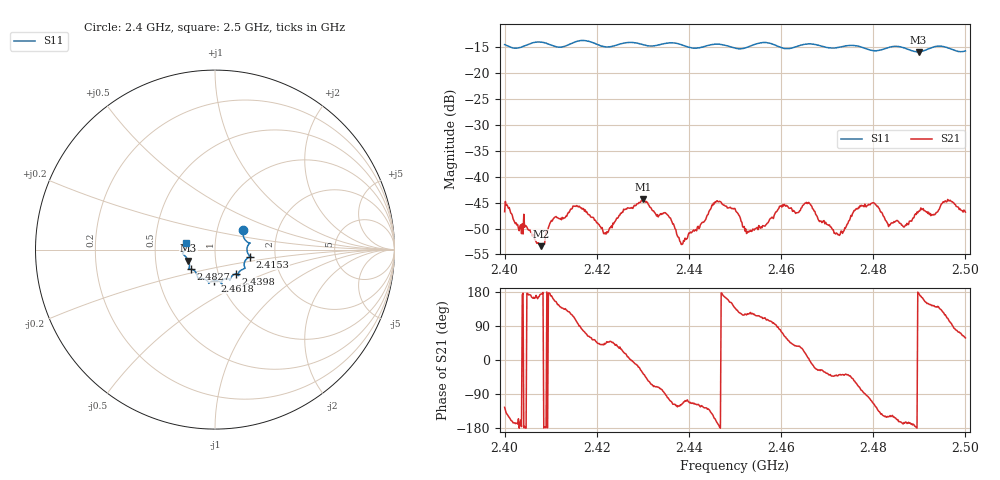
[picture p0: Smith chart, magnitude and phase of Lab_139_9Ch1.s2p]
# Hz S RI R 50
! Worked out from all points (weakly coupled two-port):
!   601 points, 2.4 GHz to 2.5 GHz, reference 50 ohm
!   highest |S21| = -44.37 dB at 2.43 GHz (marker M1); lowest = -53.4 dB at 2.4078 GHz (marker M2)
!   lowest |S11| = -15.9 dB at 2.4898 GHz (marker M3), VSWR 1.38, Z = 36.8 - j4.64 ohm
!   |S11| at or under -10 dB: start of sweep to end of sweep
!   S12 and S22 are empty: the file has one direction only
!   S11 on the Smith chart (normalised r, x): 2.4 GHz: 1.33, +0.30; 2.4153 GHz: 1.48, -0.12; 2.4398 GHz: 1.21, -0.34; 2.4618 GHz: 0.94, -0.33; 2.4827 GHz: 0.75, -0.17; 2.5 GHz: 0.72, +0.06
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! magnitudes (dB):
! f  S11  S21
! 2.4 GHz  -14.5  -46.8
! 2.4078 GHz  -14.0  -53.4
! 2.4105 GHz  -14.7  -48.2
! 2.4153 GHz  -14.0  -45.7
! 2.4167 GHz  -13.7  -46.0
! 2.422 GHz  -15.0  -51.1
! 2.43 GHz  -14.5  -44.4
! 2.4333 GHz  -14.6  -47.8
! 2.4355 GHz  -14.2  -47.5
! 2.4382 GHz  -14.4  -52.6
! 2.4398 GHz  -15.0  -51.3
! 2.4458 GHz  -14.4  -44.9
! 2.45 GHz  -15.2  -46.2
! 2.453 GHz  -14.9  -50.7
! 2.4618 GHz  -15.2  -46.1
! 2.4667 GHz  -14.4  -45.7
! 2.4723 GHz  -15.1  -51.2
! 2.4777 GHz  -15.0  -45.6
! 2.4827 GHz  -15.2  -48.4
! 2.4833 GHz  -15.0  -49.6
! 2.4898 GHz  -15.9  -46.7
! 2.5 GHz  -15.7  -46.8
